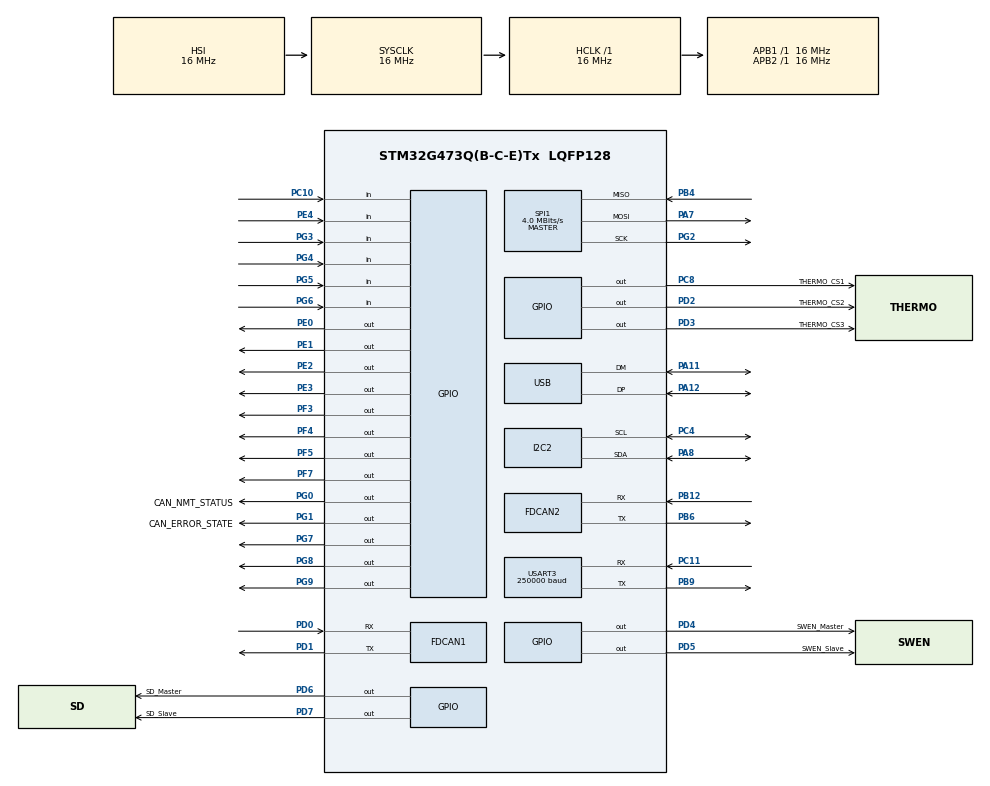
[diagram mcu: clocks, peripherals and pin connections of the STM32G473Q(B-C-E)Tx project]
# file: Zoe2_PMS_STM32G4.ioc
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FDCAN1.CalculateBaudRateNominal=1000000
FDCAN1.CalculateTimeBitNominal=1000
FDCAN1.CalculateTimeQuantumNominal=62.5
FDCAN1.NominalPrescaler=3
FDCAN1.NominalTimeSeg1=13
FDCAN1.NominalTimeSeg2=2
FDCAN2.CalculateBaudRateNominal=250000
FDCAN2.CalculateTimeBitNominal=4000
FDCAN2.CalculateTimeQuantumNominal=250.0
FDCAN2.ExtFiltersNbr=1
FDCAN2.NominalPrescaler=12
FDCAN2.NominalTimeSeg1=13
FDCAN2.NominalTimeSeg2=2
I2C2.Timing=0x00503D58
Mcu.Family=STM32G4
Mcu.Name=STM32G473Q(B-C-E)Tx
Mcu.Package=LQFP128
NVIC.FDCAN2_IT0_IRQn=true\:0\:0\:false\:false\:true\:true\:true\:true
NVIC.PriorityGroup=NVIC_PRIORITYGROUP_4
PA11.Mode=Device
PA11.Signal=USB_DM
PA12.Mode=Device
PA12.Signal=USB_DP
PA13.Mode=Serial_Wire
PA13.Signal=SYS_JTMS-SWDIO
PA14.Mode=Serial_Wire
PA14.Signal=SYS_JTCK-SWCLK
PA7.Mode=Full_Duplex_Master
PA7.Signal=SPI1_MOSI
PA8.Mode=I2C
PA8.Signal=I2C2_SDA
PB12.Mode=FDCAN_Activate
PB12.Signal=FDCAN2_RX
PB4.Mode=Full_Duplex_Master
PB4.Signal=SPI1_MISO
PB6.Mode=FDCAN_Activate
PB6.Signal=FDCAN2_TX
PB9.Mode=Asynchronous
PB9.Signal=USART3_TX
PC10.Signal=GPIO_Input
PC11.Mode=Asynchronous
PC11.Signal=USART3_RX
PC4.Mode=I2C
PC4.Signal=I2C2_SCL
PC8.GPIO_Label=THERMO_CS1
PC8.PinState=GPIO_PIN_SET
PC8.Signal=GPIO_Output
PD0.Mode=FDCAN_Activate
PD0.Signal=FDCAN1_RX
PD1.Mode=FDCAN_Activate
PD1.Signal=FDCAN1_TX
PD2.GPIO_Label=THERMO_CS2
PD2.PinState=GPIO_PIN_SET
PD2.Signal=GPIO_Output
PD3.GPIO_Label=THERMO_CS3
PD3.PinState=GPIO_PIN_SET
PD3.Signal=GPIO_Output
PD4.GPIO_Label=SWEN_Master
PD4.Signal=GPIO_Output
PD5.GPIO_Label=SWEN_Slave
PD5.Signal=GPIO_Output
PD6.GPIO_Label=SD_Master
PD6.Signal=GPIO_Output
PD7.GPIO_Label=SD_Slave
PD7.Signal=GPIO_Output
PE0.Signal=GPIO_Output
PE1.Signal=GPIO_Output
PE2.Signal=GPIO_Output
PE3.Signal=GPIO_Output
PE4.Signal=GPIO_Input
PF0-OSC_IN.Mode=HSE-External-Oscillator
PF0-OSC_IN.Signal=RCC_OSC_IN
PF1-OSC_OUT.Mode=HSE-External-Oscillator
PF1-OSC_OUT.Signal=RCC_OSC_OUT
PF3.Signal=GPIO_Output
PF4.Signal=GPIO_Output
PF5.Signal=GPIO_Output
PF7.Signal=GPIO_Output
PG0.GPIO_Label=CAN_NMT_STATUS
PG0.Signal=GPIO_Output
PG1.GPIO_Label=CAN_ERROR_STATE
PG1.Signal=GPIO_Output
PG2.Mode=Full_Duplex_Master
PG2.Signal=SPI1_SCK
PG3.Signal=GPIO_Input
PG4.Signal=GPIO_Input
PG5.Signal=GPIO_Input
PG6.Signal=GPIO_Input
PG7.Signal=GPIO_Output
PG8.Signal=GPIO_Output
PG9.Signal=GPIO_Output
ProjectManager.HeapSize=0x200
ProjectManager.StackSize=0x400
ProjectManager.TargetToolchain=STM32CubeIDE
RCC.AHBFreq_Value=16000000
RCC.APB1Freq_Value=16000000
RCC.APB1TimFreq_Value=16000000
RCC.APB2Freq_Value=16000000
RCC.APB2TimFreq_Value=16000000
RCC.CortexFreq_Value=16000000
RCC.EXTERNAL_CLOCK_VALUE=12288000
RCC.FDCANCLockSelection=RCC_FDCANCLKSOURCE_PLL
RCC.HCLKFreq_Value=16000000
RCC.HSE_VALUE=8000000
RCC.HSI48_VALUE=48000000
RCC.HSI_VALUE=16000000
RCC.LSE_VALUE=32768
RCC.PLLN=12
RCC.PLLQ=RCC_PLLQ_DIV4
RCC.SYSCLKFreq_VALUE=16000000
RCC.USBFreq_Value=48000000
RCC.VCOOutputFreq_Value=192000000
SPI1.BaudRatePrescaler=SPI_BAUDRATEPRESCALER_4
SPI1.CalculateBaudRate=4.0 MBits/s
SPI1.DataSize=SPI_DATASIZE_8BIT
SPI1.Direction=SPI_DIRECTION_2LINES
SPI1.Mode=SPI_MODE_MASTER
SPI1.NSSPMode=SPI_NSS_PULSE_DISABLE
SPI1.VirtualType=VM_MASTER
SYS.VoltageScaling=SYSCFG_VREFBUF_VOLTAGE_SCALE2
USART3.BaudRate=250000
USART3.VirtualMode-Asynchronous=VM_ASYNC
VP_SYS_VS_DBSignals.Mode=DisableDeadBatterySignals
VREF+.Mode=InternalMode2
VREF+.Signal=VREFBUF_OUT1
VREF_+.Mode=InternalMode2
VREF_+.Signal=VREFBUF_OUT2
board=custom

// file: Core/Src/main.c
/* USER CODE BEGIN Header */
/**
  ******************************************************************************
  * @file           : main.c
  * @brief          : Main program body
  ******************************************************************************
  * @attention
  *
  * Copyright (c) 2026 STMicroelectronics.
  * All rights reserved.
  *
  * This software is licensed under terms that can be found in the LICENSE file
  * in the root directory of this software component.
  * If no LICENSE file comes with this software, it is provided AS-IS.
  *
  ******************************************************************************
  */
/* USER CODE END Header */
#include "main.h"

/* USER CODE BEGIN Includes */
#include <stdio.h>
#include <string.h>
#include <stdbool.h>
#include <math.h>
#include <ad5245.h>
#include <ads1115.h>
#include <max31855.h>
#include <bms.h>
#include <mppt.h>
#include <safety.h>
#include <ssd1306.h>
#include <ssd1306_fonts.h>
/* USER CODE END Includes */

/* USER CODE BEGIN PD */
/* Set to 1 to enable I2C bus scan at boot (adds ~400 ms delay) */
#define DEBUG_I2C_SCAN    0

/* Set to 1 to enable verbose BMS bring-up debug prints.
 * Keep enabled during hardware bring-up; turn off once BMS is trusted. */
#define DEBUG_BMS         1
/* USER CODE END PD */

FDCAN_HandleTypeDef hfdcan1;
FDCAN_HandleTypeDef hfdcan2;

I2C_HandleTypeDef hi2c2;

SPI_HandleTypeDef hspi1;

UART_HandleTypeDef huart3;

PCD_HandleTypeDef hpcd_USB_FS;

/* USER CODE BEGIN PV */
static const uint16_t channels[] = {
    ADS1115_MUX_SINGLE_0,
    ADS1115_MUX_SINGLE_1,
    ADS1115_MUX_SINGLE_2,
    ADS1115_MUX_SINGLE_3,
};

#define NUM_CHANNELS  (sizeof(channels) / sizeof(channels[0]))

/* ADS1115 runtime config (mux updated per-channel in read_adc) */
static ADS1115_Config cfg;

/* Latest thermocouple readings, cached for OLED and safety module.
 * Each TC has a value and a "last good" timestamp (HAL tick ms).
 * Readings older than TC_STALE_MS are considered stale.
 * Initial ts=0 means "never read" — treated as stale. */
#define TC_STALE_MS   3000u   /* 3x the 1000 ms read period */
static float    g_tc_C[3]     = { 0.0f, 0.0f, 0.0f };
static uint32_t g_tc_last[3]  = { 0, 0, 0 };
/* USER CODE END PV */

void SystemClock_Config(void);
static void MX_GPIO_Init(void);
static void MX_FDCAN1_Init(void);
static void MX_FDCAN2_Init(void);
static void MX_I2C2_Init(void);
static void MX_SPI1_Init(void);
static void MX_USB_PCD_Init(void);
static void MX_USART3_UART_Init(void);
/* USER CODE BEGIN PFP */
static void read_adc(float *v_in, float *i_in, float *v_out, float *i_out);
static void read_thermocouples(void);
static void print_telemetry(const MPPT_Data_t *m);
static void update_oled(const MPPT_Data_t *m);
static void boost_master_enable(bool on);
static void boost_slave_enable(bool on);
static void boost_disable_all(void);
#if DEBUG_BMS
static void bms_debug_summary(void);
#endif
/* USER CODE END PFP */

/* USER CODE BEGIN 0 */
// Allows for you to do printf statements
int _write(int file, char *ptr, int len) {
    HAL_UART_Transmit(&huart3, (uint8_t *)ptr, len, HAL_MAX_DELAY);
    return len;
}

/**
 * @brief Read all four ADS1115 channels and convert to engineering units.
 *
 * Channel mapping:
 *   AIN0 -> input current  (50x gain, 2.5 mOhm shunt)
 *   AIN1 -> output current (50x gain, 2.5 mOhm shunt)
 *   AIN2 -> input voltage  (1:20 divider)
 *   AIN3 -> output voltage (1:20 divider)
 *
 * On I2C error the corresponding output is left at 0.
 */
static void read_adc(float *v_in, float *i_in, float *v_out, float *i_out)
{
    int16_t raw;
    *v_in = *i_in = *v_out = *i_out = 0.0f;

    for (uint8_t ch = 0; ch < NUM_CHANNELS; ch++) {
        cfg.mux = channels[ch];
        if (ADS1115_ReadSingleShot(&hi2c2, ADS1115_ADDR_GND, &cfg, &raw) == HAL_OK) {
            float mv = ADS1115_ConvertToMillivolts(raw, cfg.pga);
            switch (ch) {
                case 0: *i_in  = (mv / 1000.0f / 50.0f) / 0.0025f; break;
                case 1: *i_out = (mv / 1000.0f / 50.0f) / 0.0025f; break;
                case 2: *v_in  = mv / 1000.0f * 20.0f;             break;
                case 3: *v_out = mv / 1000.0f * 20.0f;             break;
            }
        }
    }
}

/**
 * @brief Read all three MAX31855 thermocouples and update the cache.
 *
 * Wiring note (historical): CS1 drives J_Temp3, CS2 drives J_Temp2,
 * CS3 drives J_Temp1. This helper presents them as TC1/TC2/TC3 in
 * the cache to match physical labels.
 *
 * On success, the reading and HAL tick are written to g_tc_C[] and
 * g_tc_last[]. On SPI error or sensor fault the entry is left alone
 * — update_oled() will age out via TC_STALE_MS and display "---".
 */
static void read_thermocouples(void)
{
    /* Mapping: cache index -> (GPIO port, pin) */
    static const struct {
        GPIO_TypeDef *port;
        uint16_t      pin;
    } tc_cs[3] = {
        { GPIOD,                 THERMO_CS3_Pin },   /* TC1 */
        { GPIOD,                 THERMO_CS2_Pin },   /* TC2 */
        { THERMO_CS1_GPIO_Port,  THERMO_CS1_Pin },   /* TC3 */
    };

    uint32_t now = HAL_GetTick();
    MAX31855_Data tc;

    for (uint8_t i = 0; i < 3; i++) {
        if (MAX31855_Read(&hspi1, tc_cs[i].port, tc_cs[i].pin, &tc) == HAL_OK
            && !tc.fault) {
            g_tc_C[i]    = tc.tc_temp;
            g_tc_last[i] = now;
            printf("TC%u: %.2f C  |  CJ%u: %.2f C\r\n",
                   i + 1, tc.tc_temp, i + 1, tc.cj_temp);
        } else {
            printf("TC%u: read failed or faulted\r\n", i + 1);
        }
    }
}

/**
 * @brief Print one MPPT telemetry record to the debug UART.
 */
static void print_telemetry(const MPPT_Data_t *m)
{
    printf("MPPT: tick=%lu  wiper=%u  state=%d  Pin=%.2fW  Vin=%.2fV  Iin=%.3fA\r\n",
           HAL_GetTick(), m->wiper, m->state,
           m->power_W, m->in_voltage_V, m->in_current_A);
    printf("      Vout=%.2fV  Iout=%.3f A\r\n",
           m->out_voltage_V, m->out_current_A);
    printf("----\r\n");
}

/**
 * @brief Render telemetry to a dual-color SSD1306 OLED.
 *
 * Display physically has yellow pixels on rows 0-15 and white/blue
 * pixels on rows 16-63. Layout exploits this split:
 *
 *   YELLOW BAND (y=0..15):
 *     y=3    "PMS         TRACK"  Font_7x10 (18 chars, 10px tall)
 *            — when safety trips, the tag replaces the MPPT state.
 *
 *   WHITE AREA (y=16..63):
 *     y=18   "Pin  : 39.3 W"
 *     y=27   "Pout : 29.0 W"
 *     y=36   "Eff  :  78 %"
 *     y=45   "TC1:45 TC2:42 TC3:68"
 *     y=54   "W:230"
 *
 * Frame push takes ~20-25 ms @ 400 kHz I2C. Call no faster than 500 ms.
 */
static void update_oled(const MPPT_Data_t *m)
{
    static const char *state_names[] = { "IDLE", "TRACK", "SCAN", "FAULT" };
    char buf[24];

    ssd1306_Fill(Black);

    /* ── YELLOW BAND: project + state (or safety tag if faulted) ─ */
    const char *safety_tag = Safety_FaultTag();
    const char *header = (safety_tag[0] != '\0')
                       ? safety_tag
                       : ((m->state <= 3) ? state_names[m->state] : "???");

    /* Font_7x10 is 7px wide → 18 chars fit in 128px width.
     * Pad so state/tag lands right-justified in the yellow strip. */
    snprintf(buf, sizeof(buf), "PMS%*s", 15 - (int)strlen(header), header);
    ssd1306_SetCursor(0, 3);
    ssd1306_WriteString(buf, Font_7x10, White);

    /* ── WHITE AREA: power, efficiency, temperatures ────────────── */

    /* Input power */
    snprintf(buf, sizeof(buf), "Pin  : %5.1f W", m->power_W);
    ssd1306_SetCursor(0, 18);
    ssd1306_WriteString(buf, Font_6x8, White);

    /* Output power */
    float p_out = m->out_voltage_V * m->out_current_A;
    snprintf(buf, sizeof(buf), "Pout : %5.1f W", p_out);
    ssd1306_SetCursor(0, 27);
    ssd1306_WriteString(buf, Font_6x8, White);

    /* Efficiency */
    int eff = 0;
    if (m->power_W > 0.5f) {
        float e = 100.0f * p_out / m->power_W;
        if (e < 0.0f)   e = 0.0f;
        if (e > 150.0f) e = 150.0f;
        eff = (int)e;
    }
    snprintf(buf, sizeof(buf), "Eff  :  %3d %%", eff);
    ssd1306_SetCursor(0, 36);
    ssd1306_WriteString(buf, Font_6x8, White);

    /* Three thermocouples — show "---" if reading is stale or never taken */
    uint32_t now = HAL_GetTick();
    char tc_s[3][4];  /* "-45" or "---" */
    for (uint8_t i = 0; i < 3; i++) {
        bool never = (g_tc_last[i] == 0);
        bool stale = (!never) && (now - g_tc_last[i] > TC_STALE_MS);
        if (never || stale) {
            snprintf(tc_s[i], sizeof(tc_s[i]), "---");
        } else {
            snprintf(tc_s[i], sizeof(tc_s[i]), "%3d", (int)g_tc_C[i]);
        }
    }
    snprintf(buf, sizeof(buf), "T1:%s T2:%s T3:%s",
             tc_s[0], tc_s[1], tc_s[2]);
    ssd1306_SetCursor(0, 45);
    ssd1306_WriteString(buf, Font_6x8, White);

    /* Wiper bottom line */
    snprintf(buf, sizeof(buf), "W:%3u", m->wiper);
    ssd1306_SetCursor(0, 54);
    ssd1306_WriteString(buf, Font_6x8, White);

    ssd1306_UpdateScreen();
}

/**
 * @brief Enable or disable the master boost converter stage.
 *
 * SD_Master  HIGH = enabled (device active)
 * SWEN_Master HIGH = switching enabled
 *
 * Both must be HIGH for the stage to deliver power.
 */
static void boost_master_enable(bool on)
{
    GPIO_PinState state = on ? GPIO_PIN_SET : GPIO_PIN_RESET;
    HAL_GPIO_WritePin(GPIOD, SD_Master_Pin,   state);
    HAL_GPIO_WritePin(GPIOD, SWEN_Master_Pin, state);
}

/**
 * @brief Enable or disable the slave boost converter stage.
 */
static void boost_slave_enable(bool on)
{
    GPIO_PinState state = on ? GPIO_PIN_SET : GPIO_PIN_RESET;
    HAL_GPIO_WritePin(GPIOD, SD_Slave_Pin,   state);
    HAL_GPIO_WritePin(GPIOD, SWEN_Slave_Pin, state);
}

/**
 * @brief Force both boost stages off. Safe default and fault response.
 */
static void boost_disable_all(void)
{
    boost_master_enable(false);
    boost_slave_enable(false);
}

#if DEBUG_BMS
/**
 * @brief Dump parsed BMS telemetry to the UART for bring-up verification.
 *
 * Prints a two-line summary: pack-level info (V/I/SoC) and per-cell
 * statistics (min/max/spread). Only prints if the BMS has produced at
 * least one valid parse (@c valid == true).
 */
static void bms_debug_summary(void)
{
    const BMS_Data_t *b = BMS_GetData();
    if (!b->valid) {
        printf("BMS: no data yet  rx_total=%lu\r\n", b->rx_total);
        return;
    }

    printf("BMS pack: V=%.2fV  I=%.2fA  SoC=%.1f%%  age=%lu ms\r\n",
           b->total0.pack_voltage_V,
           b->total0.current_A,
           b->total0.soc_pct,
           HAL_GetTick() - b->last_update_ms);

    printf("     max=%umV (c%u)  min=%umV (c%u)  diff=%umV  cells=%u\r\n",
           b->cell_stats.max_mv, b->cell_stats.max_cell,
           b->cell_stats.min_mv, b->cell_stats.min_cell,
           b->cell_stats.diff_mv,
           b->status2.cell_number);
}
#endif
/* USER CODE END 0 */

int main(void)
{

  /* MCU Configuration--------------------------------------------------------*/

  /* Reset of all peripherals, Initializes the Flash interface and the Systick. */
  HAL_Init();

  /* Configure the system clock */
  SystemClock_Config();

  /* Initialize all configured peripherals */
  MX_GPIO_Init();
  MX_FDCAN1_Init();
  MX_FDCAN2_Init();
  MX_I2C2_Init();
  MX_SPI1_Init();
  MX_USB_PCD_Init();
  MX_USART3_UART_Init();
  /* USER CODE BEGIN 2 */
  printf("alive\r\n");

#if DEBUG_I2C_SCAN
  printf("Scanning I2C2...\r\n");
  for (uint8_t addr = 0x08; addr < 0x78; addr++) {
      if (HAL_I2C_IsDeviceReady(&hi2c2, (addr << 1), 3, 10) == HAL_OK) {
          printf("  Found device at 0x%02X\r\n", addr);
      }
  }
  printf("Done.\r\n");
#endif

  /* ---- ADS1115 configuration ---- */
  cfg.mux       = ADS1115_MUX_SINGLE_0;
  cfg.pga       = ADS1115_PGA_4_096V;
  cfg.mode      = ADS1115_MODE_SINGLE;
  cfg.dr        = ADS1115_DR_128SPS;
  cfg.comp_mode = ADS1115_COMP_MODE_TRAD;
  cfg.comp_pol  = ADS1115_COMP_POL_LOW;
  cfg.comp_lat  = ADS1115_COMP_LAT_OFF;
  cfg.comp_que  = ADS1115_COMP_QUE_DISABLE;

  /* ---- Boost converters start in OFF state ----
   * Explicit safe default: both master and slave disabled at boot.
   * The safety module owns enable/disable from this point forward;
   * boost_master_enable() is called once below after init, then only
   * toggled in response to safety state transitions in the main loop.
   */
  boost_disable_all();
  HAL_Delay(10);

  /* ---- Initialize BMS driver (BEFORE HAL_FDCAN_Start) ----
   * BMS_Init configures an extended-ID filter and enables the RX FIFO0
   * new-message notification. Both calls are only valid while FDCAN is
   * in init mode, so this MUST precede HAL_FDCAN_Start().
   */
  if (BMS_Init(&hfdcan2) != HAL_OK) {
      printf("BMS_Init FAILED\r\n");
  } else {
      printf("BMS initialized\r\n");
  }

  /* ---- Start FDCAN2 ---- */
  if (HAL_FDCAN_Start(&hfdcan2) != HAL_OK) {
      printf("FDCAN2 start FAILED\r\n");
  } else {
      printf("FDCAN2 started OK\r\n");
      /* Send initial wake-up query — BMS begins autonomous broadcast after this */
      if (BMS_SendQuery() != HAL_OK) {
          printf("BMS wake-up query FAILED\r\n");
      } else {
          printf("BMS wake-up query sent\r\n");
      }
  }

  /* ---- Initialize MPPT ---- */
  MPPT_Config_t mppt_cfg = {
      .wiper_min     = 112,
      .wiper_max     = 255,
      .po_step       = 1,
      .scan_step     = 5,
      .scan_interval = MPPT_SCAN_INTERVAL_DEFAULT,
  };
  MPPT_Init(&mppt_cfg);
  printf("MPPT initialized\r\n");

  /* ---- Initialize Safety ---- */
  Safety_Config_t safety_cfg = {
      .vin_max_V      = SAFETY_DEFAULT_VIN_MAX_V,
      .vin_min_V      = SAFETY_DEFAULT_VIN_MIN_V,
      .iin_max_A      = SAFETY_DEFAULT_IIN_MAX_A,
      .vout_max_V     = SAFETY_DEFAULT_VOUT_MAX_V,
      .iout_max_A     = SAFETY_DEFAULT_IOUT_MAX_A,
      .temp_max_C     = SAFETY_DEFAULT_TEMP_MAX_C,
      .tc_stale_ms    = SAFETY_DEFAULT_TC_STALE_MS,
      .bms_timeout_ms = SAFETY_DEFAULT_BMS_TIMEOUT_MS,
      .recovery_ms    = SAFETY_DEFAULT_RECOVERY_MS,
  };
  Safety_Init(&safety_cfg);
  printf("Safety initialized\r\n");

  /* ---- Initialize OLED ---- */
  ssd1306_Init();
  ssd1306_Fill(Black);
  ssd1306_SetCursor(10, 24);
  ssd1306_WriteString("Booting...", Font_11x18, White);
  ssd1306_UpdateScreen();
  HAL_Delay(500);
  printf("OLED initialized\r\n");

  /* ---- All subsystems ready — enable master boost stage ----
   * Main loop will disable the boost if safety reports SHUTDOWN
   * and re-enable it when safety returns to SAFE after recovery.
   */
  boost_master_enable(true);
  printf("Boost master enabled\r\n");

  /* USER CODE END 2 */

  /* Infinite loop */
  while (1)
  {

    /* USER CODE BEGIN 3 */
      /* ── Heartbeat LEDs ───────────────────────────────────────── */
      HAL_GPIO_TogglePin(GPIOG, CAN_NMT_STATUS_Pin);
      HAL_GPIO_TogglePin(GPIOG, CAN_ERROR_STATE_Pin);

      /* ── MPPT + ADC + safety check + telemetry (every 50 ms) ──── */
      static uint32_t last_mppt = 0;
      if (HAL_GetTick() - last_mppt >= 50) {
          last_mppt = HAL_GetTick();

          float v_in, i_in, v_out, i_out;
          read_adc(&v_in, &i_in, &v_out, &i_out);

          /* Pull latest BMS data. last_update_ms and valid are updated
           * asynchronously from the FDCAN RX ISR; 32-bit reads are atomic
           * on STM32G4 so no critical section is needed. */
          const BMS_Data_t *bms = BMS_GetData();

          /* Safety evaluates *before* MPPT so we never drive the pot
           * with a value from a cycle that turned out to be faulted. */
          Safety_Inputs_t si = {
              .v_in          = v_in,
              .i_in          = i_in,
              .v_out         = v_out,
              .i_out         = i_out,
              .tc_C          = g_tc_C,
              .tc_last       = g_tc_last,
              .bms_last_tick = bms->last_update_ms,
              .bms_enabled   = bms->valid,  /* auto-enables on first frame */
          };
          Safety_Response_t rsp = Safety_Check(&si);

          if (rsp == SAFETY_SHUTDOWN) {
              /* Kill the boost and skip MPPT. The algorithm state is
               * preserved — when we recover, P&O picks up where it left
               * off rather than starting fresh. */
              boost_disable_all();
          } else {
              /* Re-enable on the first cycle after recovery; cheap
               * GPIO write so calling it every cycle is fine. */
              boost_master_enable(true);

              uint8_t wiper = MPPT_Step(v_in, i_in, v_out, i_out);
              AD5245_SetWiper(&hi2c2, AD5245_ADDR_AD0_LOW, wiper);
          }

          print_telemetry(MPPT_GetData());
      }

      /* ── OLED update (every 500 ms) ───────────────────────────── */
      static uint32_t last_oled = 0;
      if (HAL_GetTick() - last_oled >= 500) {
          last_oled = HAL_GetTick();
          update_oled(MPPT_GetData());
      }

      /* ── Thermocouple reads (every 1 s) ───────────────────────── */
      static uint32_t last_tc = 0;
      if (HAL_GetTick() - last_tc >= 1000) {
          last_tc = HAL_GetTick();
          read_thermocouples();

    	  /* Keep fake cache fresh so TC_STALE never trips */
//		  uint32_t now = HAL_GetTick();
//		  g_tc_C[0]    = 25.0f;
//		  g_tc_last[0] = now;
//		  g_tc_C[1]    = 25.0f;
//		  g_tc_last[1] = now;
//		  g_tc_C[2]    = 25.0f;
//		  g_tc_last[2] = now;
      }

      /* ── BMS Keepalive (every 2.5 s) ──────────────────────────── */
      static uint32_t last_bms = 0;
      if (HAL_GetTick() - last_bms >= BMS_KEEPALIVE_MS) {
          last_bms = HAL_GetTick();
          HAL_StatusTypeDef s = BMS_SendQuery();
#if DEBUG_BMS
          printf("BMS query: %s\r\n", (s == HAL_OK) ? "OK" : "FAIL");
#else
          if (s != HAL_OK) { printf("BMS_SendQuery FAILED\r\n"); }
#endif
      }

#if DEBUG_BMS
      /* ── BMS liveness + parsed-data dump (every 2 s) ──────────── */
      static uint32_t last_bms_dbg = 0;
      if (HAL_GetTick() - last_bms_dbg >= 2000) {
          last_bms_dbg = HAL_GetTick();

          const BMS_Data_t *b = BMS_GetData();
          uint32_t age = b->last_update_ms
                       ? (HAL_GetTick() - b->last_update_ms) : 0;
          printf("BMS: valid=%d  rx_total=%lu  age=%lu ms\r\n",
                 b->valid, b->rx_total, age);

          bms_debug_summary();
      }
#endif

  }

  /* USER CODE END 3 */
}

void SystemClock_Config(void)
{
  RCC_OscInitTypeDef RCC_OscInitStruct = {0};
  RCC_ClkInitTypeDef RCC_ClkInitStruct = {0};

  /** Configure the main internal regulator output voltage
  */
  HAL_PWREx_ControlVoltageScaling(PWR_REGULATOR_VOLTAGE_SCALE1);

  /** Initializes the RCC Oscillators according to the specified parameters
  * in the RCC_OscInitTypeDef structure.
  */
  RCC_OscInitStruct.OscillatorType = RCC_OSCILLATORTYPE_HSI;
  RCC_OscInitStruct.HSIState = RCC_HSI_ON;
  RCC_OscInitStruct.HSICalibrationValue = RCC_HSICALIBRATION_DEFAULT;
  RCC_OscInitStruct.PLL.PLLState = RCC_PLL_ON;
  RCC_OscInitStruct.PLL.PLLSource = RCC_PLLSOURCE_HSI;
  RCC_OscInitStruct.PLL.PLLM = RCC_PLLM_DIV1;
  RCC_OscInitStruct.PLL.PLLN = 12;
  RCC_OscInitStruct.PLL.PLLP = RCC_PLLP_DIV2;
  RCC_OscInitStruct.PLL.PLLQ = RCC_PLLQ_DIV4;
  RCC_OscInitStruct.PLL.PLLR = RCC_PLLR_DIV2;
  if (HAL_RCC_OscConfig(&RCC_OscInitStruct) != HAL_OK)
  {
    Error_Handler();
  }

  /** Initializes the CPU, AHB and APB buses clocks
  */
  RCC_ClkInitStruct.ClockType = RCC_CLOCKTYPE_HCLK|RCC_CLOCKTYPE_SYSCLK
                              |RCC_CLOCKTYPE_PCLK1|RCC_CLOCKTYPE_PCLK2;
  RCC_ClkInitStruct.SYSCLKSource = RCC_SYSCLKSOURCE_HSI;
  RCC_ClkInitStruct.AHBCLKDivider = RCC_SYSCLK_DIV1;
  RCC_ClkInitStruct.APB1CLKDivider = RCC_HCLK_DIV1;
  RCC_ClkInitStruct.APB2CLKDivider = RCC_HCLK_DIV1;

  if (HAL_RCC_ClockConfig(&RCC_ClkInitStruct, FLASH_LATENCY_0) != HAL_OK)
  {
    Error_Handler();
  }
}

static void MX_FDCAN1_Init(void)
{

  hfdcan1.Instance = FDCAN1;
  hfdcan1.Init.ClockDivider = FDCAN_CLOCK_DIV1;
  hfdcan1.Init.FrameFormat = FDCAN_FRAME_CLASSIC;
  hfdcan1.Init.Mode = FDCAN_MODE_NORMAL;
  hfdcan1.Init.AutoRetransmission = DISABLE;
  hfdcan1.Init.TransmitPause = DISABLE;
  hfdcan1.Init.ProtocolException = DISABLE;
  hfdcan1.Init.NominalPrescaler = 3;
  hfdcan1.Init.NominalSyncJumpWidth = 1;
  hfdcan1.Init.NominalTimeSeg1 = 13;
  hfdcan1.Init.NominalTimeSeg2 = 2;
  hfdcan1.Init.DataPrescaler = 1;
  hfdcan1.Init.DataSyncJumpWidth = 1;
  hfdcan1.Init.DataTimeSeg1 = 1;
  hfdcan1.Init.DataTimeSeg2 = 1;
  hfdcan1.Init.StdFiltersNbr = 0;
  hfdcan1.Init.ExtFiltersNbr = 0;
  hfdcan1.Init.TxFifoQueueMode = FDCAN_TX_FIFO_OPERATION;
  if (HAL_FDCAN_Init(&hfdcan1) != HAL_OK)
  {
    Error_Handler();
  }

}

static void MX_FDCAN2_Init(void)
{

  hfdcan2.Instance = FDCAN2;
  hfdcan2.Init.ClockDivider = FDCAN_CLOCK_DIV1;
  hfdcan2.Init.FrameFormat = FDCAN_FRAME_CLASSIC;
  hfdcan2.Init.Mode = FDCAN_MODE_NORMAL;
  hfdcan2.Init.AutoRetransmission = DISABLE;
  hfdcan2.Init.TransmitPause = DISABLE;
  hfdcan2.Init.ProtocolException = DISABLE;
  hfdcan2.Init.NominalPrescaler = 12;
  hfdcan2.Init.NominalSyncJumpWidth = 1;
  hfdcan2.Init.NominalTimeSeg1 = 13;
  hfdcan2.Init.NominalTimeSeg2 = 2;
  hfdcan2.Init.DataPrescaler = 1;
  hfdcan2.Init.DataSyncJumpWidth = 1;
  hfdcan2.Init.DataTimeSeg1 = 1;
  hfdcan2.Init.DataTimeSeg2 = 1;
  hfdcan2.Init.StdFiltersNbr = 0;
  hfdcan2.Init.ExtFiltersNbr = 1;
  hfdcan2.Init.TxFifoQueueMode = FDCAN_TX_FIFO_OPERATION;
  if (HAL_FDCAN_Init(&hfdcan2) != HAL_OK)
  {
    Error_Handler();
  }

}

static void MX_I2C2_Init(void)
{

  hi2c2.Instance = I2C2;
  hi2c2.Init.Timing = 0x00503D58;
  hi2c2.Init.OwnAddress1 = 0;
  hi2c2.Init.AddressingMode = I2C_ADDRESSINGMODE_7BIT;
  hi2c2.Init.DualAddressMode = I2C_DUALADDRESS_DISABLE;
  hi2c2.Init.OwnAddress2 = 0;
  hi2c2.Init.OwnAddress2Masks = I2C_OA2_NOMASK;
  hi2c2.Init.GeneralCallMode = I2C_GENERALCALL_DISABLE;
  hi2c2.Init.NoStretchMode = I2C_NOSTRETCH_DISABLE;
  if (HAL_I2C_Init(&hi2c2) != HAL_OK)
  {
    Error_Handler();
  }

  /** Configure Analogue filter
  */
  if (HAL_I2CEx_ConfigAnalogFilter(&hi2c2, I2C_ANALOGFILTER_ENABLE) != HAL_OK)
  {
    Error_Handler();
  }

  /** Configure Digital filter
  */
  if (HAL_I2CEx_ConfigDigitalFilter(&hi2c2, 0) != HAL_OK)
  {
    Error_Handler();
  }

}

static void MX_SPI1_Init(void)
{

  /* SPI1 parameter configuration*/
  hspi1.Instance = SPI1;
  hspi1.Init.Mode = SPI_MODE_MASTER;
  hspi1.Init.Direction = SPI_DIRECTION_2LINES;
  hspi1.Init.DataSize = SPI_DATASIZE_8BIT;
  hspi1.Init.CLKPolarity = SPI_POLARITY_LOW;
  hspi1.Init.CLKPhase = SPI_PHASE_1EDGE;
  hspi1.Init.NSS = SPI_NSS_SOFT;
  hspi1.Init.BaudRatePrescaler = SPI_BAUDRATEPRESCALER_4;
  hspi1.Init.FirstBit = SPI_FIRSTBIT_MSB;
  hspi1.Init.TIMode = SPI_TIMODE_DISABLE;
  hspi1.Init.CRCCalculation = SPI_CRCCALCULATION_DISABLE;
  hspi1.Init.CRCPolynomial = 7;
  hspi1.Init.CRCLength = SPI_CRC_LENGTH_DATASIZE;
  hspi1.Init.NSSPMode = SPI_NSS_PULSE_DISABLE;
  if (HAL_SPI_Init(&hspi1) != HAL_OK)
  {
    Error_Handler();
  }

}

static void MX_USART3_UART_Init(void)
{

  huart3.Instance = USART3;
  huart3.Init.BaudRate = 250000;
  huart3.Init.WordLength = UART_WORDLENGTH_8B;
  huart3.Init.StopBits = UART_STOPBITS_1;
  huart3.Init.Parity = UART_PARITY_NONE;
  huart3.Init.Mode = UART_MODE_TX_RX;
  huart3.Init.HwFlowCtl = UART_HWCONTROL_NONE;
  huart3.Init.OverSampling = UART_OVERSAMPLING_16;
  huart3.Init.OneBitSampling = UART_ONE_BIT_SAMPLE_DISABLE;
  huart3.Init.ClockPrescaler = UART_PRESCALER_DIV1;
  huart3.AdvancedInit.AdvFeatureInit = UART_ADVFEATURE_NO_INIT;
  if (HAL_UART_Init(&huart3) != HAL_OK)
  {
    Error_Handler();
  }
  if (HAL_UARTEx_SetTxFifoThreshold(&huart3, UART_TXFIFO_THRESHOLD_1_8) != HAL_OK)
  {
    Error_Handler();
  }
  if (HAL_UARTEx_SetRxFifoThreshold(&huart3, UART_RXFIFO_THRESHOLD_1_8) != HAL_OK)
  {
    Error_Handler();
  }
  if (HAL_UARTEx_DisableFifoMode(&huart3) != HAL_OK)
  {
    Error_Handler();
  }

}

static void MX_USB_PCD_Init(void)
{

  hpcd_USB_FS.Instance = USB;
  hpcd_USB_FS.Init.dev_endpoints = 8;
  hpcd_USB_FS.Init.speed = PCD_SPEED_FULL;
  hpcd_USB_FS.Init.phy_itface = PCD_PHY_EMBEDDED;
  hpcd_USB_FS.Init.Sof_enable = DISABLE;
  hpcd_USB_FS.Init.low_power_enable = DISABLE;
  hpcd_USB_FS.Init.lpm_enable = DISABLE;
  hpcd_USB_FS.Init.battery_charging_enable = DISABLE;
  if (HAL_PCD_Init(&hpcd_USB_FS) != HAL_OK)
  {
    Error_Handler();
  }

}

static void MX_GPIO_Init(void)
{
  GPIO_InitTypeDef GPIO_InitStruct = {0};

  /* GPIO Ports Clock Enable */
  __HAL_RCC_GPIOE_CLK_ENABLE();
  __HAL_RCC_GPIOF_CLK_ENABLE();
  __HAL_RCC_GPIOA_CLK_ENABLE();
  __HAL_RCC_GPIOC_CLK_ENABLE();
  __HAL_RCC_GPIOB_CLK_ENABLE();
  __HAL_RCC_GPIOG_CLK_ENABLE();
  __HAL_RCC_GPIOD_CLK_ENABLE();

  /*Configure GPIO pin Output Level */
  HAL_GPIO_WritePin(GPIOE, GPIO_PIN_2|GPIO_PIN_3|GPIO_PIN_0|GPIO_PIN_1, GPIO_PIN_RESET);

  /*Configure GPIO pin Output Level */
  HAL_GPIO_WritePin(GPIOF, GPIO_PIN_3|GPIO_PIN_4|GPIO_PIN_5|GPIO_PIN_7, GPIO_PIN_RESET);

  /*Configure GPIO pin Output Level */
  HAL_GPIO_WritePin(GPIOG, CAN_NMT_STATUS_Pin|CAN_ERROR_STATE_Pin|GPIO_PIN_7|GPIO_PIN_8
                          |GPIO_PIN_9, GPIO_PIN_RESET);

  /*Configure GPIO pin Output Level */
  HAL_GPIO_WritePin(THERMO_CS1_GPIO_Port, THERMO_CS1_Pin, GPIO_PIN_SET);

  /*Configure GPIO pin Output Level */
  HAL_GPIO_WritePin(GPIOD, THERMO_CS2_Pin|THERMO_CS3_Pin, GPIO_PIN_SET);

  /*Configure GPIO pin Output Level */
  HAL_GPIO_WritePin(GPIOD, SWEN_Master_Pin|SWEN_Slave_Pin|SD_Master_Pin|SD_Slave_Pin, GPIO_PIN_RESET);

  /*Configure GPIO pins : PE2 PE3 PE0 PE1 */
  GPIO_InitStruct.Pin = GPIO_PIN_2|GPIO_PIN_3|GPIO_PIN_0|GPIO_PIN_1;
  GPIO_InitStruct.Mode = GPIO_MODE_OUTPUT_PP;
  GPIO_InitStruct.Pull = GPIO_NOPULL;
  GPIO_InitStruct.Speed = GPIO_SPEED_FREQ_LOW;
  HAL_GPIO_Init(GPIOE, &GPIO_InitStruct);

  /*Configure GPIO pin : PE4 */
  GPIO_InitStruct.Pin = GPIO_PIN_4;
  GPIO_InitStruct.Mode = GPIO_MODE_INPUT;
  GPIO_InitStruct.Pull = GPIO_NOPULL;
  HAL_GPIO_Init(GPIOE, &GPIO_InitStruct);

  /*Configure GPIO pins : PF3 PF4 PF5 PF7 */
  GPIO_InitStruct.Pin = GPIO_PIN_3|GPIO_PIN_4|GPIO_PIN_5|GPIO_PIN_7;
  GPIO_InitStruct.Mode = GPIO_MODE_OUTPUT_PP;
  GPIO_InitStruct.Pull = GPIO_NOPULL;
  GPIO_InitStruct.Speed = GPIO_SPEED_FREQ_LOW;
  HAL_GPIO_Init(GPIOF, &GPIO_InitStruct);

  /*Configure GPIO pins : CAN_NMT_STATUS_Pin CAN_ERROR_STATE_Pin PG7 PG8
                           PG9 */
  GPIO_InitStruct.Pin = CAN_NMT_STATUS_Pin|CAN_ERROR_STATE_Pin|GPIO_PIN_7|GPIO_PIN_8
                          |GPIO_PIN_9;
  GPIO_InitStruct.Mode = GPIO_MODE_OUTPUT_PP;
  GPIO_InitStruct.Pull = GPIO_NOPULL;
  GPIO_InitStruct.Speed = GPIO_SPEED_FREQ_LOW;
  HAL_GPIO_Init(GPIOG, &GPIO_InitStruct);

  /*Configure GPIO pins : PG3 PG4 PG5 PG6 */
  GPIO_InitStruct.Pin = GPIO_PIN_3|GPIO_PIN_4|GPIO_PIN_5|GPIO_PIN_6;
  GPIO_InitStruct.Mode = GPIO_MODE_INPUT;
  GPIO_InitStruct.Pull = GPIO_NOPULL;
  HAL_GPIO_Init(GPIOG, &GPIO_InitStruct);

  /*Configure GPIO pin : THERMO_CS1_Pin */
  GPIO_InitStruct.Pin = THERMO_CS1_Pin;
  GPIO_InitStruct.Mode = GPIO_MODE_OUTPUT_PP;
  GPIO_InitStruct.Pull = GPIO_NOPULL;
  GPIO_InitStruct.Speed = GPIO_SPEED_FREQ_LOW;
  HAL_GPIO_Init(THERMO_CS1_GPIO_Port, &GPIO_InitStruct);

  /*Configure GPIO pin : PC10 */
  GPIO_InitStruct.Pin = GPIO_PIN_10;
  GPIO_InitStruct.Mode = GPIO_MODE_INPUT;
  GPIO_InitStruct.Pull = GPIO_NOPULL;
  HAL_GPIO_Init(GPIOC, &GPIO_InitStruct);

  /*Configure GPIO pins : THERMO_CS2_Pin THERMO_CS3_Pin SWEN_Master_Pin SWEN_Slave_Pin
                           SD_Master_Pin SD_Slave_Pin */
  GPIO_InitStruct.Pin = THERMO_CS2_Pin|THERMO_CS3_Pin|SWEN_Master_Pin|SWEN_Slave_Pin
                          |SD_Master_Pin|SD_Slave_Pin;
  GPIO_InitStruct.Mode = GPIO_MODE_OUTPUT_PP;
  GPIO_InitStruct.Pull = GPIO_NOPULL;
  GPIO_InitStruct.Speed = GPIO_SPEED_FREQ_LOW;
  HAL_GPIO_Init(GPIOD, &GPIO_InitStruct);

}

/* USER CODE BEGIN 4 */

/**
 * @brief FDCAN RX FIFO0 callback — HAL requires this at application
 *        level. Delegates to the appropriate driver based on which
 *        FDCAN peripheral triggered the interrupt.
 */
void HAL_FDCAN_RxFifo0Callback(FDCAN_HandleTypeDef *hfdcan,
                               uint32_t RxFifo0ITs)
{
    if (hfdcan == &hfdcan2) {
        BMS_RxCallback(hfdcan);
    }
    /* FDCAN1 (CANopen) RX handler would go here when added */
}

/* USER CODE END 4 */

void Error_Handler(void)
{
  __disable_irq();
  while (1)
  {
  }
}
